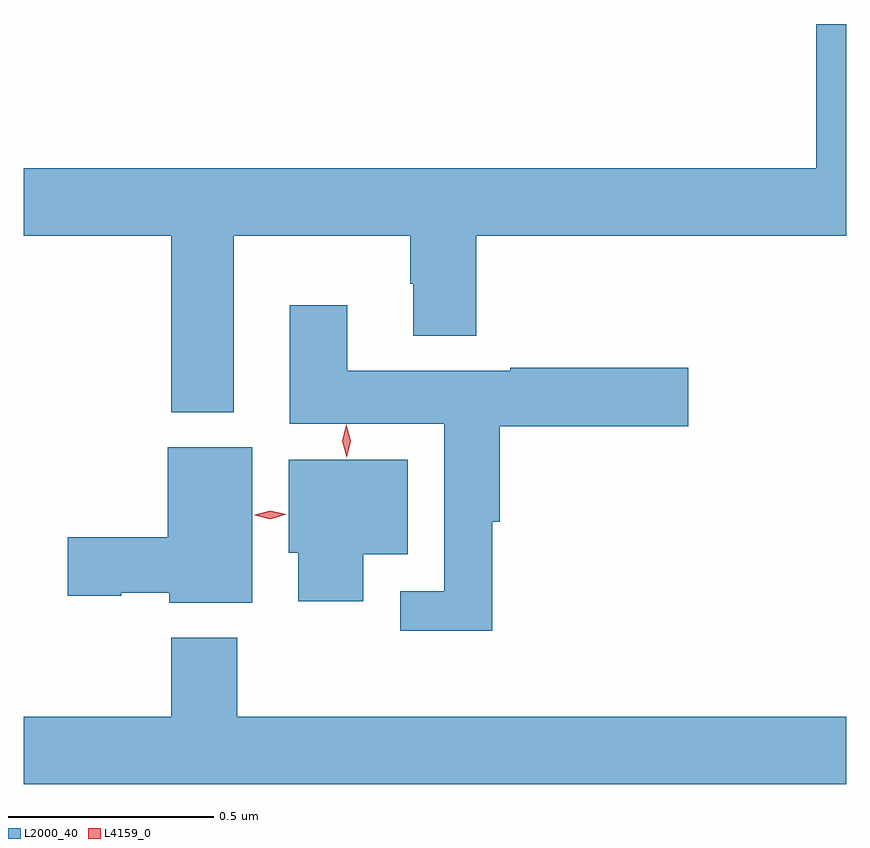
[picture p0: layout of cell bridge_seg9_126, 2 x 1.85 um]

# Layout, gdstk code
import gdstk
lib = gdstk.Library(unit=1e-6, precision=1e-09)
def P(c, l, *ps):  # polygons
    for p in ps: c.add(gdstk.Polygon(p, *l))
L2000_40 = (2000, 40)
L4159_0 = (4159, 0)

bridge_seg9_126 = lib.new_cell('bridge_seg9_126')
P(bridge_seg9_126, L2000_40, [(479.647,1244.372),(480.076,1244.372),(480.076,1244.256),(480.083,1244.256),(480.083,1244.129),(480.236,1244.129),(480.236,1244.372),(481.136,1244.372),(481.136,1244.887),(481.062,1244.887),(481.062,1244.536),(479.136,1244.536),(479.136,1244.372),(479.495,1244.372),(479.495,1243.943),(479.647,1243.943)],
  [(480.275,1243.677),(480.293,1243.677),(480.293,1243.91),(480.751,1243.91),(480.751,1244.052),(480.319,1244.052),(480.319,1244.044),(479.923,1244.044),(479.923,1244.203),(479.783,1244.203),(479.783,1243.916),(480.159,1243.916),(480.159,1243.509),(480.051,1243.509),(480.051,1243.412),(480.275,1243.412)],
  [(479.692,1243.858),(479.486,1243.858),(479.486,1243.64),(479.244,1243.64),(479.244,1243.498),(479.373,1243.498),(479.373,1243.505),(479.49,1243.505),(479.49,1243.481),(479.692,1243.481)],
  [(479.962,1243.598),(480.07,1243.598),(480.07,1243.828),(479.78,1243.828),(479.78,1243.602),(479.804,1243.602),(479.804,1243.484),(479.962,1243.484)],
  [(481.136,1243.204),(479.655,1243.204),(479.655,1243.396),(479.495,1243.396),(479.495,1243.204),(479.136,1243.204),(479.136,1243.04),(481.136,1243.04)])
P(bridge_seg9_126, L4159_0, [(479.921,1243.834),(479.921,1243.834),(479.911,1243.873),(479.92,1243.913),(479.92,1243.913),(479.92,1243.913),(479.931,1243.874),(479.922,1243.834)],
  [(479.736,1243.684),(479.698,1243.693),(479.698,1243.694),(479.698,1243.694),(479.736,1243.704),(479.774,1243.696),(479.774,1243.695),(479.774,1243.695)])

lib.write_gds('bridge_seg9_126.gds')
